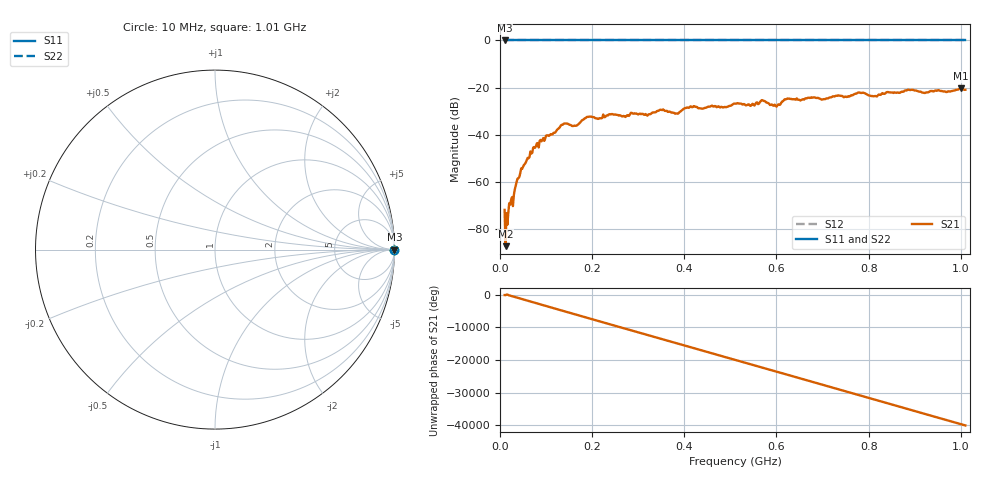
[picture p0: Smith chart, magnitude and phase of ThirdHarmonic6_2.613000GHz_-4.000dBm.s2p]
! 8/17/2025 5:43:52 AM
! C:\ANRITSUVNA\TEMP\TEMP.S2P
! CHANNEL.1
! TR.MEASUREMENT
! RAW.DATA
! RF.CORRECTION.OFF
! AVERAGING.OFF
! IF.BANDWIDTH: 5KHZ
! SWEEPTYPE:  FREQ.SWEEP(Linear)
! Reference Plane Port Info
! PORT:  PORT1  PORT2
! DISTANCE:  0  m  0  m
! TIME:  0  s  0  s
! PHASE.OFFSET:  0  deg.  0  deg.
! LOSS:  0  dB  0  dB
! REF.LOSS:  0  dB  0  dB
! REF.FREQ:  0  Hz  0  Hz
! Power Info
! POWER:  -20  dBm  -20  dBm
! EFF.POWER:  -20  dBm  -20  dBm
! SOURCE.ATTEN:  0  dB  0  dB
! TEST.ATTEN:  0  dB  0  dB
# GHZ S RI R 50.0
! FREQ.GHZ  S11RE  S11IM  S21RE  S21IM  S12RE  S12IM  S22RE  S22IM
!; PortSelection: Port_12
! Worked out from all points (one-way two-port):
!   501 points, 10 MHz to 1.01 GHz, reference 50 ohm
!   highest |S21| = -20.35 dB at 1 GHz (marker M1); lowest = -87.2 dB at 12 MHz (marker M2)
!   lowest |S11| = 0.0 dB at 10 MHz (marker M3)
!   |S11| at or under -10 dB: nowhere
!   |S22| runs from 0.0 to 0.0 dB; largest |S21 - S12| = 1.1
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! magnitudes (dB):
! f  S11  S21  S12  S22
! 10 MHz  0.0  -71.8  0.0  0.0
! 12 MHz  0.0  -87.2  0.0  0.0
! 16 MHz  0.0  -78.1  0.0  0.0
! 22 MHz  0.0  -69.6  0.0  0.0
! 42 MHz  0.0  -57.9  0.0  0.0
! 76 MHz  0.0  -45.5  0.0  0.0
! 136 MHz  0.0  -35.8  0.0  0.0
! 162 MHz  0.0  -36.1  0.0  0.0
! 178 MHz  0.0  -33.8  0.0  0.0
! 344 MHz  0.0  -29.8  0.0  0.0
! 384 MHz  0.0  -31.0  0.0  0.0
! 416 MHz  0.0  -28.3  0.0  0.0
! 510 MHz  0.0  -26.8  0.0  0.0
! 548 MHz  0.0  -26.8  0.0  0.0
! 570 MHz  0.0  -25.4  0.0  0.0
! 598 MHz  0.0  -27.6  0.0  0.0
! 622 MHz  0.0  -24.8  0.0  0.0
! 678 MHz  0.0  -24.3  0.0  0.0
! 814 MHz  0.0  -23.5  0.0  0.0
! 844 MHz  0.0  -22.0  0.0  0.0
! 1 GHz  0.0  -20.4  0.0  0.0
! 1.01 GHz  0.0  -20.9  0.0  0.0
